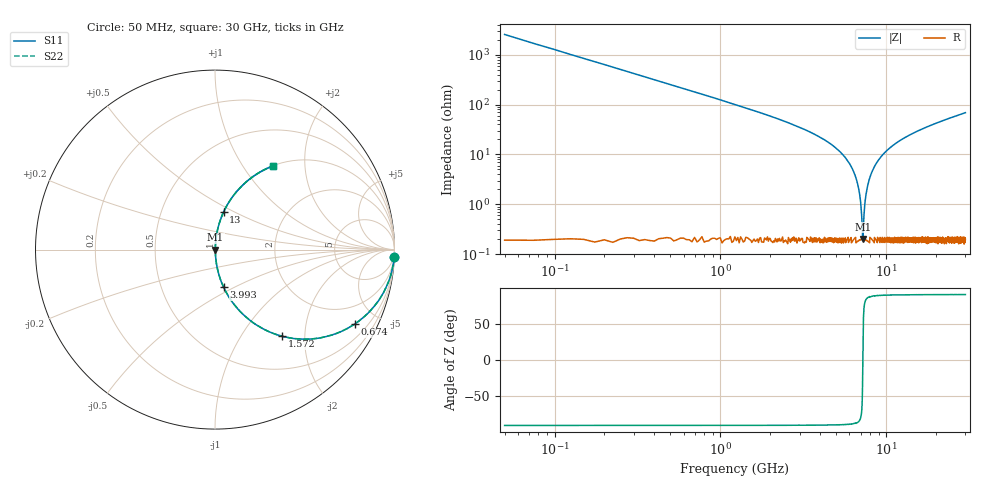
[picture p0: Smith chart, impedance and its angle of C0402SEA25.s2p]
!	AVX Thin Film Operation 	Date: April 2014
!	Description: Accu-P® Series, Thin Film  SMD RF Capacitor
!	Part Number: 04021JA25ZBSTR
# MHZ S MA R 50
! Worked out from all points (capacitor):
!   1201 points, 50 MHz to 30 GHz, reference 50 ohm
!   read as one part in series: C = 1.25 pF near 199.8 MHz
!   lowest |Z| = 202 mohm at 7.213 GHz (marker M1)
!   series resonance near 7.222 GHz, so ESL is about 390 pH
!   S11 on the Smith chart (normalised r, x): 50 MHz: 1, -51; 674 MHz: 1.00, -3.75; 1.572 GHz: 1.00, -1.54; 3.993 GHz: 1.00, -0.44; 13 GHz: 1.00, +0.44; 30 GHz: 1.00, +1.38
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50  0.999 -2.2  0.039 87.7  0.039 87.7  0.999 -2.2
324.542  0.969 -14.3  0.247 75.6  0.247 75.6  0.969 -14.3
673.958  0.882 -28.1  0.471 61.9  0.471 61.9  0.882 -28.1
1572.458  0.61 -52.3  0.791 37.6  0.791 37.6  0.61 -52.3
2545.833  0.401 -66.1  0.915 23.6  0.915 23.6  0.401 -66.1
3993.417  0.216 -77.0  0.975 12.5  0.975 12.5  0.216 -77.0
5041.667  0.128 -81.8  0.99 7.4  0.99 7.4  0.128 -81.8
5965.125  0.068 -84.5  0.996 3.9  0.996 3.9  0.068 -84.5
6564.125  0.034 -84.8  0.998 1.9  0.998 1.9  0.034 -84.8
6888.583  0.017 -82.4  0.998 1.0  0.998 1.0  0.017 -82.4
7113.208  0.005698 -69.9  0.998 0.3  0.998 0.3  0.005698 -69.9
7213.042  0.00198 -13.3  0.998 0.0  0.998 0.0  0.00198 -13.3
7312.875  0.004784 66.0  0.998 -0.3  0.998 -0.3  0.004784 66.0
7587.417  0.017 82.7  0.998 -1.0  0.998 -1.0  0.017 82.7
8036.667  0.038 84.9  0.997 -2.2  0.997 -2.2  0.038 84.9
8835.333  0.071 84.4  0.996 -4.1  0.996 -4.1  0.071 84.4
10058.29  0.118 82.3  0.991 -6.8  0.991 -6.8  0.118 82.3
13003.38  0.214 77.1  0.975 -12.4  0.975 -12.4  0.214 77.1
15025  0.271 73.9  0.961 -15.7  0.961 -15.7  0.271 73.9
20016.67  0.39 66.8  0.919 -23.0  0.919 -23.0  0.39 66.8
25033.29  0.488 60.6  0.871 -29.2  0.871 -29.2  0.488 60.6
30000  0.567 55.3  0.822 -34.5  0.822 -34.5  0.567 55.3
